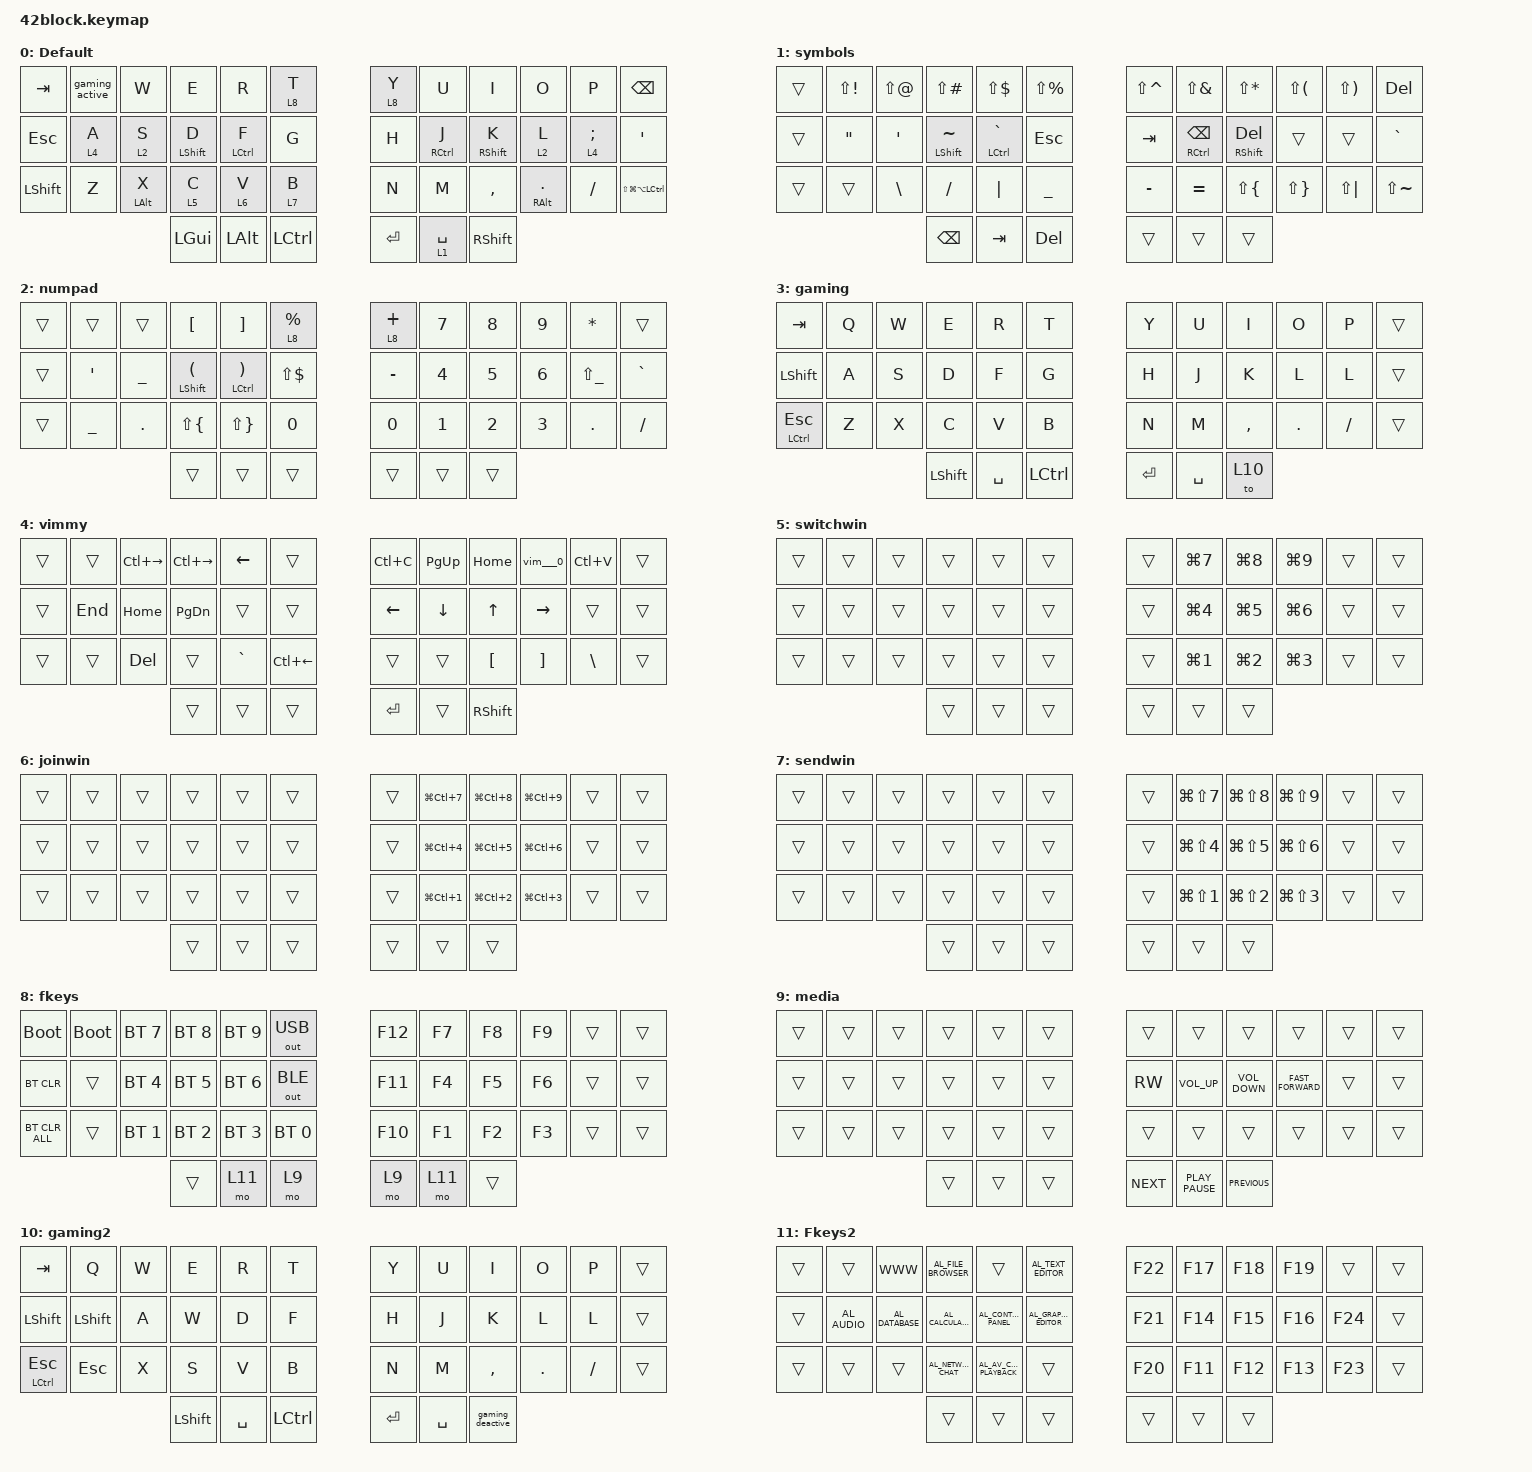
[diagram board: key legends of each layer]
#include <behaviors.dtsi>
#include <dt-bindings/zmk/bt.h>
#include <dt-bindings/zmk/keys.h>
#include <dt-bindings/zmk/outputs.h>

/ {
    behaviors {
        gaming_active: gaming_active {
            compatible = "zmk,behavior-tap-dance";
            label = "GAMING_ACTIVE";
            #binding-cells = <0>;
            bindings = <&kp Q>, <&kp Q>, <&to 3>;
        };

        gaming_deactive: gaming_deactive {
            compatible = "zmk,behavior-tap-dance";
            label = "GAMING_DEACTIVE";
            #binding-cells = <0>;
            bindings = <&kp RIGHT_SHIFT>, <&to 0>;
        };

        hm: homerow_mods {
            compatible = "zmk,behavior-hold-tap";
            label = "HOMEROW_MODS";
            bindings = <&kp>, <&kp>;

            #binding-cells = <2>;
            tapping-term-ms = <200>;
            flavor = "tap-preferred";
            quick-tap-ms = <200>;
            require-prior-idle-ms = <75>;
        };

        hl: homerow_layer {
            compatible = "zmk,behavior-hold-tap";
            label = "HOMEROW_LAYER";
            bindings = <&mo>, <&kp>;

            #binding-cells = <2>;
            tapping-term-ms = <200>;
            flavor = "tap-preferred";
            quick-tap-ms = <200>;
            require-prior-idle-ms = <75>;
        };
    };

    macros {
        vim___0: vim___0 {
            compatible = "zmk,behavior-macro";
            #binding-cells = <0>;
            bindings = <&kp END &kp ENTER>;
            label = "vim___0";
        };

        vim___w: vim___w {
            compatible = "zmk,behavior-macro";
            #binding-cells = <0>;
            bindings = <&kp LC(RIGHT)>;
            label = "VIM___W";
        };

        select_all_delete: select-all-delete {
            compatible = "zmk,behavior-macro";
            #binding-cells = <0>;
            bindings = <&kp LC(A)>, <&kp DELETE>;
            label = "SELECT_ALL_DELETE";
        };
    };

    combos {
        compatible = "zmk,combos";

        // 0  1  2  3  4  5       6  7  8  9 10 11
        // 12 13 14 15 16 17      18 19 20 21 22 23
        // 24 25 26 27 28 29      30 31 32 33 34 35
        //            36 37 38   39 40 41

        jk-esc {
            bindings = <&kp ESCAPE>;
            key-positions = <19 20>;
            require-prior-idle-ms = <125>;
        };

        ui-backspace {
            bindings = <&kp BACKSPACE>;
            key-positions = <7 8>;
            require-prior-idle-ms = <125>;
            layers = <0>;
        };

        uio-select-all-delete {
            bindings = <&select_all_delete>;
            key-positions = <7 8 9>;
            require-prior-idle-ms = <125>;
            layers = <0>;
        };

        m,-del {
            bindings = <&kp DELETE>;
            key-positions = <31 32>;
            layers = <0>;
        };

        df-tab {
            bindings = <&kp TAB>;
            key-positions = <16 15>;
            require-prior-idle-ms = <125>;
            layers = <0>;
        };

        gaming-active {
            bindings = <&to 3>;
            key-positions = <38 39>;
        };

        gaming-deactive {
            bindings = <&to 0>;
            key-positions = <37 40>;
            require-prior-idle-ms = <125>;
        };

        caret {
            bindings = <&kp CARET>;
            key-positions = <6 40>;
            layers = <0>;
            require-prior-idle-ms = <125>;
        };

        ampersand {
            bindings = <&kp AMPERSAND>;
            key-positions = <7 40>;
            layers = <0>;
            require-prior-idle-ms = <125>;
        };

        asterisk {
            bindings = <&kp ASTERISK>;
            key-positions = <8 40>;
            layers = <0>;
            require-prior-idle-ms = <125>;
        };

        percent {
            bindings = <&kp PERCENT>;
            key-positions = <5 40>;
            layers = <0>;
            require-prior-idle-ms = <125>;
        };

        dollar {
            bindings = <&kp DOLLAR>;
            key-positions = <4 40>;
        };

        hash {
            bindings = <&kp HASH>;
            key-positions = <3 40>;
            layers = <0>;
            require-prior-idle-ms = <125>;
        };

        at {
            bindings = <&kp AT_SIGN>;
            key-positions = <2 40>;
            layers = <0>;
            require-prior-idle-ms = <125>;
        };

        bang {
            bindings = <&kp EXCLAMATION>;
            key-positions = <1 40>;
            layers = <0>;
            require-prior-idle-ms = <125>;
        };

        esc {
            bindings = <&kp ESCAPE>;
            key-positions = <3 4>;
            require-prior-idle-ms = <125>;
        };

        grave {
            bindings = <&kp GRAVE>;
            key-positions = <16 17>;
        };

        under {
            bindings = <&kp UNDERSCORE>;
            key-positions = <28 29>;
            layers = <0>;
            require-prior-idle-ms = <125>;
        };

        pipe {
            bindings = <&kp PIPE>;
            key-positions = <27 28>;
            layers = <0>;
            require-prior-idle-ms = <125>;
        };

        left-baracket {
            bindings = <&kp LEFT_BRACKET>;
            key-positions = <4 7>;
            layers = <0>;
            require-prior-idle-ms = <125>;
        };

        right-bracket {
            bindings = <&kp RIGHT_BRACKET>;
            key-positions = <3 8>;
            layers = <0>;
            require-prior-idle-ms = <125>;
        };

        left-brace {
            bindings = <&kp LEFT_BRACE>;
            key-positions = <28 31>;
            layers = <0>;
            require-prior-idle-ms = <125>;
        };

        right-brace {
            bindings = <&kp RIGHT_BRACE>;
            key-positions = <27 32>;
            layers = <0>;
            require-prior-idle-ms = <125>;
        };

        fj-paren {
            bindings = <&kp LPAR>;
            key-positions = <16 19>;
            layers = <0>;
            require-prior-idle-ms = <125>;
        };

        dk-paren {
            bindings = <&kp RPAR>;
            key-positions = <15 20>;
            layers = <0>;
            require-prior-idle-ms = <125>;
        };

        bootloader {
            bindings = <&bootloader>;
            key-positions = <5 38 39 6>;
            require-prior-idle-ms = <1000>;
            timeout-ms = <125>;
        };

        tn-f10 {
            bindings = <&kp F10>;
            key-positions = <5 30>;
            require-prior-idle-ms = <500>;
            timeout-ms = <125>;
        };

        th-f11 {
            bindings = <&kp F11>;
            key-positions = <5 18>;
            require-prior-idle-ms = <500>;
            timeout-ms = <50>;
        };

        ty-f12 {
            bindings = <&kp F12>;
            key-positions = <5 6>;
            require-prior-idle-ms = <500>;
            timeout-ms = <50>;
        };

        hj-playpause {
            bindings = <&kp K_PLAY_PAUSE>;
            key-positions = <18 19>;
            require-prior-idle-ms = <500>;
        };

        nm-steam-marker {
            bindings = <&kp LC(F12)>;
            key-positions = <30 31>;
            require-prior-idle-ms = <500>;
        };

        yu-c-next {
            bindings = <&kp C_NEXT>;
            key-positions = <6 7>;
            require-prior-idle-ms = <500>;
        };

        two-hand-sleep {
            bindings = <&none>;
            key-positions = <0 24 11 35>;
        };

        capslock {
            bindings = <&kp CAPSLOCK>;
            key-positions = <41 20>;
        };
    };

    keymap {
        compatible = "zmk,keymap";
        label = "42block";

        default_layer {
            label = "Default";
            bindings = <
&kp TAB    &gaming_active  &kp W       &kp E             &kp R        &hl 8 T    &hl 8 Y  &kp U        &kp I              &kp O                 &kp P            &kp BACKSPACE
&kp ESC    &hl 4 A         &hl 2 S     &hm LEFT_SHIFT D  &hm LCTRL F  &kp G      &kp H    &hm RCTRL J  &hm RIGHT_SHIFT K  &hl 2 L               &hl 4 SEMICOLON  &kp SQT
&kp LSHFT  &kp Z           &hm LALT X  &hl 5 C           &hl 6 V      &hl 7 B    &kp N    &kp M        &kp COMMA          &hm RIGHT_ALT PERIOD  &kp SLASH        &kp LS(LG(LA(LCTRL)))
                                       &kp LGUI          &kp LALT     &kp LCTRL  &kp RET  &lt 1 SPACE  &kp RSHFT
            >;
        };

        symbols {
            bindings = <
&trans  &kp LS(EXCL)       &kp LS(AT)     &kp LS(POUND)         &kp LS(DLLR)            &kp LS(PRCNT)  &kp LS(CARET)  &kp LS(AMPS)                 &kp LS(STAR)         &kp LS(LPAR)  &kp LS(RPAR)  &kp DEL
&trans  &kp DOUBLE_QUOTES  &kp SQT        &hm LEFT_SHIFT TILDE  &hm LEFT_CONTROL GRAVE  &kp ESCAPE     &kp TAB        &hm RIGHT_CONTROL BACKSPACE  &hm RIGHT_SHIFT DEL  &trans        &trans        &kp GRAVE
&trans  &trans             &kp BACKSLASH  &kp SLASH             &kp PIPE                &kp UNDER      &kp MINUS      &kp EQUAL                    &kp LS(LBRC)         &kp LS(RBRC)  &kp LS(PIPE)  &kp LS(TILDE)
                                          &kp BACKSPACE         &kp TAB                 &kp DEL        &trans         &trans                       &trans
            >;
        };

        numpad {
            bindings = <
&trans  &trans     &trans     &kp LBKT                         &kp RBKT                            &hl 8 PERCENT  &hl 8 PLUS  &kp N7  &kp N8  &kp N9  &kp STAR       &trans
&trans  &kp SQT    &kp UNDER  &hm LEFT_SHIFT LEFT_PARENTHESIS  &hm LEFT_CONTROL RIGHT_PARENTHESIS  &kp LS(DLLR)   &kp MINUS   &kp N4  &kp N5  &kp N6  &kp LS(UNDER)  &kp GRAVE
&trans  &kp UNDER  &kp DOT    &kp LS(LEFT_BRACE)               &kp LS(RIGHT_BRACE)                 &kp N0         &kp N0      &kp N1  &kp N2  &kp N3  &kp DOT        &kp FSLH
                              &trans                           &trans                              &trans         &trans      &trans  &trans
            >;
        };

        gaming {
            bindings = <
&kp TAB                  &kp Q  &kp W  &kp E      &kp R      &kp T      &kp Y      &kp U      &kp I      &kp O    &kp P     &trans
&kp LSHFT                &kp A  &kp S  &kp D      &kp F      &kp G      &kp H      &kp J      &kp K      &kp L    &kp L     &trans
&mt LEFT_CONTROL ESCAPE  &kp Z  &kp X  &kp C      &kp V      &kp B      &kp N      &kp M      &kp COMMA  &kp DOT  &kp FSLH  &trans
                                       &kp LSHFT  &kp SPACE  &kp LCTRL  &kp ENTER  &kp SPACE  &to 10
            >;
        };

        vimmy {
            bindings = <
&trans  &trans   &kp LC(RIGHT)  &kp LC(RIGHT)  &kp LEFT   &trans        &kp LC(C)  &kp PG_UP  &kp HOME   &vim___0   &kp LC(V)  &trans
&trans  &kp END  &kp HOME       &kp PG_DN      &trans     &trans        &kp LEFT   &kp DOWN   &kp UP     &kp RIGHT  &trans     &trans
&trans  &trans   &kp DEL        &trans         &kp GRAVE  &kp LC(LEFT)  &trans     &trans     &kp LBKT   &kp RBKT   &kp BSLH   &trans
                                &trans         &trans     &trans        &kp RET    &trans     &kp RSHFT
            >;
        };

        switchwin {
            bindings = <
&trans  &trans  &trans  &trans  &trans  &trans  &trans  &kp LG(N7)  &kp LG(N8)  &kp LG(N9)  &trans  &trans
&trans  &trans  &trans  &trans  &trans  &trans  &trans  &kp LG(N4)  &kp LG(N5)  &kp LG(N6)  &trans  &trans
&trans  &trans  &trans  &trans  &trans  &trans  &trans  &kp LG(N1)  &kp LG(N2)  &kp LG(N3)  &trans  &trans
                        &trans  &trans  &trans  &trans  &trans      &trans
            >;
        };

        joinwin {
            bindings = <
&trans  &trans  &trans  &trans  &trans  &trans  &trans  &kp LG(LC(N7))  &kp LG(LC(N8))  &kp LG(LC(N9))  &trans  &trans
&trans  &trans  &trans  &trans  &trans  &trans  &trans  &kp LG(LC(N4))  &kp LG(LC(N5))  &kp LG(LC(N6))  &trans  &trans
&trans  &trans  &trans  &trans  &trans  &trans  &trans  &kp LG(LC(N1))  &kp LG(LC(N2))  &kp LG(LC(N3))  &trans  &trans
                        &trans  &trans  &trans  &trans  &trans          &trans
            >;
        };

        sendwin {
            bindings = <
&trans  &trans  &trans  &trans  &trans  &trans  &trans  &kp LG(LS(N7))  &kp LG(LS(N8))  &kp LG(LS(N9))  &trans  &trans
&trans  &trans  &trans  &trans  &trans  &trans  &trans  &kp LG(LS(N4))  &kp LG(LS(N5))  &kp LG(LS(N6))  &trans  &trans
&trans  &trans  &trans  &trans  &trans  &trans  &trans  &kp LG(LS(N1))  &kp LG(LS(N2))  &kp LG(LS(N3))  &trans  &trans
                        &trans  &trans  &trans  &trans  &trans          &trans
            >;
        };

        fkeys {
            bindings = <
&bootloader     &bootloader  &bt BT_SEL 7  &bt BT_SEL 8  &bt BT_SEL 9  &out OUT_USB  &kp F12  &kp F7  &kp F8  &kp F9  &trans  &trans
&bt BT_CLR      &trans       &bt BT_SEL 4  &bt BT_SEL 5  &bt BT_SEL 6  &out OUT_BLE  &kp F11  &kp F4  &kp F5  &kp F6  &trans  &trans
&bt BT_CLR_ALL  &trans       &bt BT_SEL 1  &bt BT_SEL 2  &bt BT_SEL 3  &bt BT_SEL 0  &kp F10  &kp F1  &kp F2  &kp F3  &trans  &trans
                                           &trans        &mo 11        &mo 9         &mo 9    &mo 11  &trans
            >;
        };

        media {
            bindings = <
&trans  &trans  &trans  &trans  &trans  &trans  &trans      &trans            &trans             &trans              &trans  &trans
&trans  &trans  &trans  &trans  &trans  &trans  &kp C_RW    &kp C_VOLUME_UP   &kp C_VOLUME_DOWN  &kp C_FAST_FORWARD  &trans  &trans
&trans  &trans  &trans  &trans  &trans  &trans  &trans      &trans            &trans             &trans              &trans  &trans
                        &trans  &trans  &trans  &kp C_NEXT  &kp K_PLAY_PAUSE  &kp C_PREVIOUS
            >;
        };

        gaming2 {
            bindings = <
&kp TAB                  &kp Q      &kp W  &kp E      &kp R      &kp T      &kp Y      &kp U      &kp I             &kp O    &kp P     &trans
&kp LSHFT                &kp LSHFT  &kp A  &kp W      &kp D      &kp F      &kp H      &kp J      &kp K             &kp L    &kp L     &trans
&mt LEFT_CONTROL ESCAPE  &kp ESC    &kp X  &kp S      &kp V      &kp B      &kp N      &kp M      &kp COMMA         &kp DOT  &kp FSLH  &trans
                                           &kp LSHFT  &kp SPACE  &kp LCTRL  &kp ENTER  &kp SPACE  &gaming_deactive
            >;
        };

        Fkeys2 {
            bindings = <
&trans  &trans          &kp K_WWW          &kp C_AL_FILE_BROWSER  &trans                        &kp C_AL_TEXT_EDITOR      &kp F22  &kp F17  &kp F18  &kp F19  &trans   &trans
&trans  &kp C_AL_AUDIO  &kp C_AL_DATABASE  &kp C_AL_CALCULATOR    &kp C_AL_CONTROL_PANEL        &kp C_AL_GRAPHICS_EDITOR  &kp F21  &kp F14  &kp F15  &kp F16  &kp F24  &trans
&trans  &trans          &trans             &kp C_AL_NETWORK_CHAT  &kp C_AL_AV_CAPTURE_PLAYBACK  &trans                    &kp F20  &kp F11  &kp F12  &kp F13  &kp F23  &trans
                                           &trans                 &trans                        &trans                    &trans   &trans   &trans
            >;
        };
    };
};
